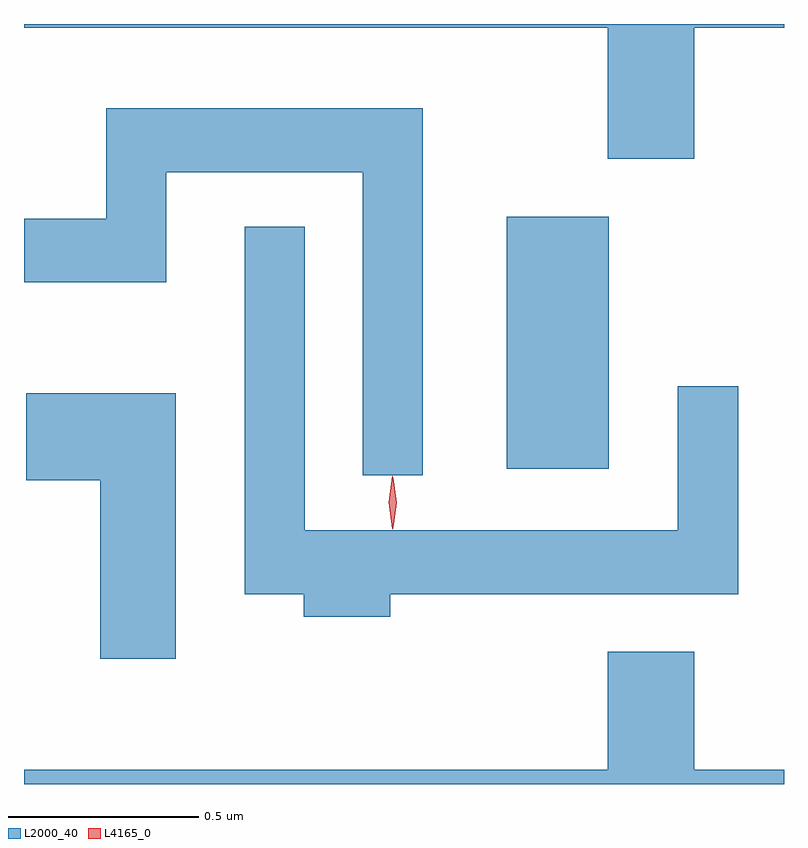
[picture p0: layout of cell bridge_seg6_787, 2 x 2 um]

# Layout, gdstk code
import gdstk
lib = gdstk.Library(unit=1e-6, precision=1e-09)
def R(c, l, rs):  # rectangles x0, y0, x1, y1
    for r in rs: c.add(gdstk.rectangle(r[:2], r[2:], *l))
def P(c, l, *ps):  # polygons
    for p in ps: c.add(gdstk.Polygon(p, *l))
L2000_40 = (2000, 40)
L4165_0 = (4165, 0)

bridge_seg6_787 = lib.new_cell('bridge_seg6_787')
R(bridge_seg6_787, L2000_40, [(502.376,1575.516,502.644,1576.179)])
P(bridge_seg6_787, L2000_40, [(502.869,1576.676),(503.105,1576.676),(503.105,1576.686),(501.105,1576.686),(501.105,1576.676),(502.641,1576.676),(502.641,1576.331),(502.869,1576.331)],
  [(502.154,1576.464),(501.321,1576.464),(501.321,1576.174),(501.105,1576.174),(501.105,1576.006),(501.479,1576.006),(501.479,1576.296),(501.996,1576.296),(501.996,1575.498),(502.154,1575.498)],
  [(502.069,1575.186),(502.984,1575.186),(502.984,1575.733),(502.826,1575.733),(502.826,1575.354),(501.844,1575.354),(501.844,1576.153),(501.686,1576.153),(501.686,1575.186),(501.841,1575.186),(501.841,1575.126),(502.069,1575.126)],
  [(501.504,1575.714),(501.111,1575.714),(501.111,1575.486),(501.306,1575.486),(501.306,1575.016),(501.504,1575.016)],
  [(503.105,1574.724),(502.869,1574.724),(502.869,1575.034),(502.641,1575.034),(502.641,1574.724),(501.105,1574.724),(501.105,1574.686),(503.105,1574.686)])
P(bridge_seg6_787, L4165_0, [(502.075,1575.357),(502.074,1575.358),(502.065,1575.427),(502.074,1575.496),(502.075,1575.496),(502.076,1575.496),(502.085,1575.426),(502.075,1575.358)],
  [(502.077,1575.359),(502.076,1575.36),(502.067,1575.426),(502.076,1575.492),(502.076,1575.493),(502.077,1575.492),(502.086,1575.426),(502.077,1575.36)])

lib.write_gds('bridge_seg6_787.gds')
